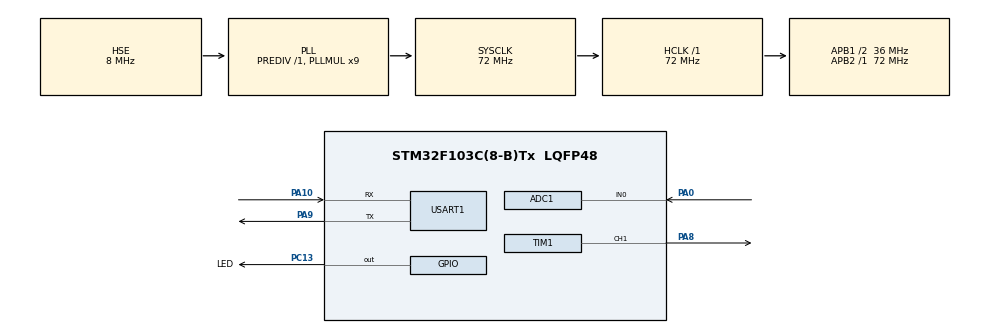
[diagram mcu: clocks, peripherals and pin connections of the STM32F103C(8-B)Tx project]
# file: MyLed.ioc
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ADC1.Channel-0\#ChannelRegularConversion=ADC_CHANNEL_0
ADC1.ExternalTrigConv=ADC_EXTERNALTRIGCONV_T3_TRGO
ADC1.NbrOfConversionFlag=1
ADC1.Rank-0\#ChannelRegularConversion=1
ADC1.SamplingTime-0\#ChannelRegularConversion=ADC_SAMPLETIME_71CYCLES_5
ADC1.master=1
Dma.Request0=TIM1_CH1
Dma.Request1=USART1_RX
Dma.TIM1_CH1.0.Direction=DMA_MEMORY_TO_PERIPH
Dma.TIM1_CH1.0.Instance=DMA1_Channel2
Dma.TIM1_CH1.0.MemDataAlignment=DMA_MDATAALIGN_HALFWORD
Dma.TIM1_CH1.0.MemInc=DMA_MINC_ENABLE
Dma.TIM1_CH1.0.Mode=DMA_NORMAL
Dma.TIM1_CH1.0.PeriphDataAlignment=DMA_PDATAALIGN_HALFWORD
Dma.TIM1_CH1.0.PeriphInc=DMA_PINC_DISABLE
Dma.TIM1_CH1.0.Priority=DMA_PRIORITY_LOW
Dma.USART1_RX.1.Direction=DMA_PERIPH_TO_MEMORY
Dma.USART1_RX.1.Instance=DMA1_Channel5
Dma.USART1_RX.1.MemDataAlignment=DMA_MDATAALIGN_BYTE
Dma.USART1_RX.1.MemInc=DMA_MINC_ENABLE
Dma.USART1_RX.1.Mode=DMA_NORMAL
Dma.USART1_RX.1.PeriphDataAlignment=DMA_PDATAALIGN_BYTE
Dma.USART1_RX.1.PeriphInc=DMA_PINC_DISABLE
Dma.USART1_RX.1.Priority=DMA_PRIORITY_MEDIUM
Mcu.Family=STM32F1
Mcu.Name=STM32F103C(8-B)Tx
Mcu.Package=LQFP48
NVIC.ADC1_2_IRQn=true\:0\:0\:false\:false\:true\:true\:true\:true
NVIC.DMA1_Channel2_IRQn=true\:0\:0\:false\:false\:true\:false\:true\:true
NVIC.DMA1_Channel5_IRQn=true\:0\:0\:false\:false\:true\:false\:true\:true
NVIC.PriorityGroup=NVIC_PRIORITYGROUP_4
NVIC.USART1_IRQn=true\:0\:0\:false\:false\:true\:true\:true\:true
PA0-WKUP.Signal=ADCx_IN0
PA10.Mode=Asynchronous
PA10.Signal=USART1_RX
PA13.Mode=Serial_Wire
PA13.Signal=SYS_JTMS-SWDIO
PA14.Mode=Serial_Wire
PA14.Signal=SYS_JTCK-SWCLK
PA8.GPIO_Speed=GPIO_SPEED_FREQ_HIGH
PA8.Signal=S_TIM1_CH1
PA9.Mode=Asynchronous
PA9.Signal=USART1_TX
PC13-TAMPER-RTC.GPIO_Label=LED
PC13-TAMPER-RTC.Signal=GPIO_Output
PD0-OSC_IN.Mode=HSE-External-Oscillator
PD0-OSC_IN.Signal=RCC_OSC_IN
PD1-OSC_OUT.Mode=HSE-External-Oscillator
PD1-OSC_OUT.Signal=RCC_OSC_OUT
ProjectManager.HeapSize=0x200
ProjectManager.StackSize=0x400
ProjectManager.TargetToolchain=STM32CubeIDE
RCC.ADCPresc=RCC_ADCPCLK2_DIV6
RCC.AHBFreq_Value=72000000
RCC.APB1CLKDivider=RCC_HCLK_DIV2
RCC.APB1Freq_Value=36000000
RCC.APB1TimFreq_Value=72000000
RCC.APB2Freq_Value=72000000
RCC.APB2TimFreq_Value=72000000
RCC.HCLKFreq_Value=72000000
RCC.PLLMUL=RCC_PLL_MUL9
RCC.PLLSourceVirtual=RCC_PLLSOURCE_HSE
RCC.SYSCLKFreq_VALUE=72000000
RCC.SYSCLKSource=RCC_SYSCLKSOURCE_PLLCLK
RCC.USBFreq_Value=72000000
SH.ADCx_IN0.0=ADC1_IN0,IN0
SH.S_TIM1_CH1.0=TIM1_CH1,PWM Generation1 CH1
TIM1.Channel-PWM\ Generation1\ CH1=TIM_CHANNEL_1
TIM1.Period=90-1
TIM3.Period=4500-1
TIM3.TIM_MasterOutputTrigger=TIM_TRGO_UPDATE
USART1.VirtualMode=VM_ASYNC
VP_TIM3_VS_ClockSourceINT.Mode=Internal
board=custom

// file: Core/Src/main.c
/* USER CODE BEGIN Header */
/**
  ******************************************************************************
  * @file           : main.c
  * @brief          : Main program body
  ******************************************************************************
  * @attention
  *
  * <h2><center>&copy; Copyright (c) 2022 STMicroelectronics.
  * All rights reserved.</center></h2>
  *
  * This software component is licensed by ST under BSD 3-Clause license,
  * the "License"; You may not use this file except in compliance with the
  * License. You may obtain a copy of the License at:
  *                        opensource.org/licenses/BSD-3-Clause
  *
  ******************************************************************************
  */
/* USER CODE END Header */
#include "main.h"

/* USER CODE BEGIN Includes */
#include "ESP_AT.h"
#include "WS2812B.h"
#include "WS2812B_Effects.h"
#include "FlashPROM.h"
#include <stdio.h>
#include <stdlib.h>

#define RX_BUFF_SIZE 33
#define MAX_LEDS 240
#define FIRST_WRITE_KEY 13
#define SETTINGS_BUFFSIZE (sizeof(Settings))
#define AUTOSAVE_PERIOD 10000
unsigned long autosaveTimer = 0;

/* USER CODE END Includes */

ADC_HandleTypeDef hadc1;

TIM_HandleTypeDef htim1;
TIM_HandleTypeDef htim3;
DMA_HandleTypeDef hdma_tim1_ch1;

UART_HandleTypeDef huart1;
DMA_HandleTypeDef hdma_usart1_rx;

void SystemClock_Config(void);
static void MX_GPIO_Init(void);
static void MX_DMA_Init(void);
static void MX_TIM1_Init(void);
static void MX_USART1_UART_Init(void);
static void MX_ADC1_Init(void);
static void MX_TIM3_Init(void);

/* USER CODE BEGIN 0 */

//---------Commands-----------
enum Commands{
	SET_BRIGHTNESS,
	SET_COLOR,
    SET_EFFECT,
	SET_EFFECT_DELAY,
	SET_COLOR_MUSIC,
	SET_COLOR_MUSIC_DELAY,
	SET_COLOR_MUSIC_SENSIVITY,
    SET_NUM_LEDS,
    SET_WIFI_SETTENGS,
	SET_AP_SETTINGS,
	SET_ON_OFF
};

//---------Settings-----------
typedef struct{
	uint8_t firstWriteKey;
	uint8_t brightness;
	uint8_t colorR;
	uint8_t colorG;
	uint8_t colorB;
	uint8_t effect;
	uint8_t effectDelay;
	uint8_t colorMusic;
	uint8_t colorMusicDelay;
	uint8_t colorMusicLowSensivity;
	uint8_t colorMusicMediumSensivity;
	uint8_t colorMusicHighSensivity;
	uint8_t numleds;
	uint8_t ssidSTA[16];
	uint8_t passSTA[16];
	uint8_t ssidAP[16];
	uint8_t passAP[16];
	uint8_t onOff;
}Settings;
Settings settings = {0};

WS2812B_t myled;
uint8_t rxBuff[RX_BUFF_SIZE] = {};
uint8_t dataReceivedFlag = 0;

void ESP_IPD_Callback(uint8_t id, uint16_t len, char* data){
	if(!dataReceivedFlag){
		memcpy(rxBuff, data, len);
		HAL_GPIO_TogglePin(LED_GPIO_Port, LED_Pin);
		dataReceivedFlag = 1;
	}
}
/* USER CODE END 0 */

int main(void)
{

  /* MCU Configuration--------------------------------------------------------*/

  /* Reset of all peripherals, Initializes the Flash interface and the Systick. */
  HAL_Init();

  /* Configure the system clock */
  SystemClock_Config();

  /* Initialize all configured peripherals */
  MX_GPIO_Init();
  MX_DMA_Init();
  MX_TIM1_Init();
  MX_USART1_UART_Init();
  MX_ADC1_Init();
  MX_TIM3_Init();

  /* Infinite loop */
  /* USER CODE BEGIN WHILE */
  HAL_Delay(100);
  HAL_GPIO_WritePin(LED_GPIO_Port, LED_Pin, GPIO_PIN_SET);

  FlashPROM_Init(SETTINGS_BUFFSIZE);
  FlashPROM_Read((void*)&settings);
  if(settings.firstWriteKey != FIRST_WRITE_KEY){
	  settings.firstWriteKey = FIRST_WRITE_KEY;
	  settings.brightness = 32;
	  settings.numleds = 60;
	  settings.effectDelay = 50;
	  settings.colorR = 255;
	  settings.colorG = 0;
	  settings.colorB = 0;
	  settings.effect = 0;
	  settings.effectDelay = 50;
	  settings.colorMusic = 0;
	  settings.colorMusicDelay = 50;
	  settings.colorMusicLowSensivity = 35;
	  settings.colorMusicMediumSensivity = 35;
	  settings.colorMusicHighSensivity = 35;
	  sprintf((char*)settings.ssidSTA, "none");
	  sprintf((char*)settings.passSTA, "none");
	  sprintf((char*)settings.ssidAP, "MyLed");
	  sprintf((char*)settings.passAP, "myled1305");
	  settings.onOff = 1;
	  FlashPROM_Write((void*)&settings);
  }

  ESP_Init(&huart1);
  ESP_STA_Mode();
  ESP_STA_IP("192.168.0.113", "192.168.0.1", "255.255.255.0");
  if(!ESP_ConnectToAP((char*)settings.ssidSTA, (char*)settings.passSTA))
  {
	  ESP_AP_Mode();
	  ESP_AP_Config((char*)settings.ssidAP, (char*)settings.passAP, 1, 2);
	  ESP_AP_IP("192.168.0.113", "192.168.0.1", "255.255.255.0");
  }
  ESP_StartTCPServer(1305);
  ESP_EnableCallbacs();

  HAL_GPIO_WritePin(LED_GPIO_Port, LED_Pin, GPIO_PIN_RESET);

  WS2812B_Init(&myled, MAX_LEDS, &htim1, TIM_CHANNEL_1);
  WS2812B_SetBrightness(&myled, settings.brightness);
  WS2812B_SetNumLeds(&myled, settings.numleds);

  memset(rxBuff, 0, RX_BUFF_SIZE);

  while (1)
  {
		if(settings.onOff){
			WS2812B_MakeEffect(&myled, settings.effect, settings.effectDelay);

			if(!settings.effect){
				for(size_t i = 0; i < MAX_LEDS; i++){
					WS2812B_SetPixelRGB(&myled, settings.colorR, settings.colorG, settings.colorB, i);
				}
			}
			WS2812B_Show(&myled);
		}else{
			WS2812B_Off(&myled);
		}
		if(HAL_GetTick() - autosaveTimer > AUTOSAVE_PERIOD && autosaveTimer != 0){
			FlashPROM_Write((void*)&settings);
			autosaveTimer = 0;
		}

	  if(dataReceivedFlag){
		  switch (rxBuff[0])
		  	{
		  	case SET_BRIGHTNESS:
		  	{
		  		settings.brightness = rxBuff[1];
		  		WS2812B_SetBrightness(&myled, settings.brightness);
		  		break;
		  	}
		  	case SET_COLOR:
		  	{
		  		settings.colorR = rxBuff[1];
		  		settings.colorG = rxBuff[2];
		  		settings.colorB = rxBuff[3];
		  		for(int i = 0; i < settings.numleds; i++)
		  			WS2812B_SetPixelRGB(&myled, settings.colorR, settings.colorG, settings.colorB, i);
		  		break;
		  	}
		  	case SET_EFFECT:
		  	{
		  		settings.effect = rxBuff[1];
		  		break;
		  	}
		  	case SET_EFFECT_DELAY:
		  	{
		  		settings.effectDelay = rxBuff[1];
		  		break;
		  	}
		  	case SET_COLOR_MUSIC:
		  	{
		  		settings.colorMusic = rxBuff[1];
		  		break;
		  	}
		  	case SET_COLOR_MUSIC_DELAY:
		  	{
		  		settings.colorMusicDelay = rxBuff[1];
		  		break;
		  	}
		  	case SET_COLOR_MUSIC_SENSIVITY:
		  	{
		  		settings.colorMusicLowSensivity = rxBuff[1];
		  		settings.colorMusicMediumSensivity = rxBuff[2];
		  		settings.colorMusicHighSensivity = rxBuff[3];
		  		break;
		  	}
		  	case SET_NUM_LEDS:
		  	{
		  		if(rxBuff[1] <= MAX_LEDS){
		  			settings.numleds = rxBuff[1];
		  			WS2812B_SetNumLeds(&myled, settings.numleds);
		  		}
		  		break;
		  	}
		  	case SET_WIFI_SETTENGS:
		  	{
		  		for(int i = 1; i < sizeof(settings.ssidSTA); i++)
		  			settings.ssidSTA[i - 1] = rxBuff[i];
		  		for(int i = 1; i < sizeof(settings.passSTA); i++)
		  			settings.passSTA[i - 1] = rxBuff[i + sizeof(settings.ssidSTA)];

		  		FlashPROM_Write((void*)&settings);
		  		HAL_Delay(5);
		  		__set_FAULTMASK(1);
		  		NVIC_SystemReset();
		  		break;
		  	}
		  	case SET_AP_SETTINGS:
		  	{
		  		for(int i = 1; i < sizeof(settings.ssidAP); i++)
		  			settings.ssidAP[i - 1] = rxBuff[i];
		  		for(int i = 1; i < sizeof(settings.passAP); i++)
		  			settings.passAP[i - 1] = rxBuff[i + sizeof(settings.ssidAP)];

		  		FlashPROM_Write((void*)&settings);
		  		HAL_Delay(5);
		  		__set_FAULTMASK(1);
		  		NVIC_SystemReset();
		  		break;
		  	}
		  	case SET_ON_OFF:
		  	{
		  		settings.onOff = !settings.onOff;
		  		if(!settings.onOff){
		  			for(int i = 0; i < settings.numleds; i++)
		  				WS2812B_SetPixelRGB(&myled, 0, 0, 0, i);
		  			WS2812B_MakeEffect(&myled, EFFECT_NONE, settings.effectDelay);
		  			WS2812B_Show(&myled);
		  			FlashPROM_Write((void*)&settings);
		  			HAL_Delay(5);
		  		}
		  		break;
		  	}
		  	}
		  	memset(rxBuff, 0, RX_BUFF_SIZE);
		  	autosaveTimer = HAL_GetTick();
		  	dataReceivedFlag = 0;
	  }
    /* USER CODE END WHILE */

  }
}

void SystemClock_Config(void)
{
  RCC_OscInitTypeDef RCC_OscInitStruct = {0};
  RCC_ClkInitTypeDef RCC_ClkInitStruct = {0};
  RCC_PeriphCLKInitTypeDef PeriphClkInit = {0};

  /** Initializes the RCC Oscillators according to the specified parameters
  * in the RCC_OscInitTypeDef structure.
  */
  RCC_OscInitStruct.OscillatorType = RCC_OSCILLATORTYPE_HSE;
  RCC_OscInitStruct.HSEState = RCC_HSE_ON;
  RCC_OscInitStruct.HSEPredivValue = RCC_HSE_PREDIV_DIV1;
  RCC_OscInitStruct.HSIState = RCC_HSI_ON;
  RCC_OscInitStruct.PLL.PLLState = RCC_PLL_ON;
  RCC_OscInitStruct.PLL.PLLSource = RCC_PLLSOURCE_HSE;
  RCC_OscInitStruct.PLL.PLLMUL = RCC_PLL_MUL9;
  if (HAL_RCC_OscConfig(&RCC_OscInitStruct) != HAL_OK)
  {
    Error_Handler();
  }

  /** Initializes the CPU, AHB and APB buses clocks
  */
  RCC_ClkInitStruct.ClockType = RCC_CLOCKTYPE_HCLK|RCC_CLOCKTYPE_SYSCLK
                              |RCC_CLOCKTYPE_PCLK1|RCC_CLOCKTYPE_PCLK2;
  RCC_ClkInitStruct.SYSCLKSource = RCC_SYSCLKSOURCE_PLLCLK;
  RCC_ClkInitStruct.AHBCLKDivider = RCC_SYSCLK_DIV1;
  RCC_ClkInitStruct.APB1CLKDivider = RCC_HCLK_DIV2;
  RCC_ClkInitStruct.APB2CLKDivider = RCC_HCLK_DIV1;

  if (HAL_RCC_ClockConfig(&RCC_ClkInitStruct, FLASH_LATENCY_2) != HAL_OK)
  {
    Error_Handler();
  }
  PeriphClkInit.PeriphClockSelection = RCC_PERIPHCLK_ADC;
  PeriphClkInit.AdcClockSelection = RCC_ADCPCLK2_DIV6;
  if (HAL_RCCEx_PeriphCLKConfig(&PeriphClkInit) != HAL_OK)
  {
    Error_Handler();
  }
}

static void MX_ADC1_Init(void)
{

  ADC_ChannelConfTypeDef sConfig = {0};

  /** Common config
  */
  hadc1.Instance = ADC1;
  hadc1.Init.ScanConvMode = ADC_SCAN_DISABLE;
  hadc1.Init.ContinuousConvMode = DISABLE;
  hadc1.Init.DiscontinuousConvMode = DISABLE;
  hadc1.Init.ExternalTrigConv = ADC_EXTERNALTRIGCONV_T3_TRGO;
  hadc1.Init.DataAlign = ADC_DATAALIGN_RIGHT;
  hadc1.Init.NbrOfConversion = 1;
  if (HAL_ADC_Init(&hadc1) != HAL_OK)
  {
    Error_Handler();
  }

  /** Configure Regular Channel
  */
  sConfig.Channel = ADC_CHANNEL_0;
  sConfig.Rank = ADC_REGULAR_RANK_1;
  sConfig.SamplingTime = ADC_SAMPLETIME_71CYCLES_5;
  if (HAL_ADC_ConfigChannel(&hadc1, &sConfig) != HAL_OK)
  {
    Error_Handler();
  }

}

static void MX_TIM1_Init(void)
{

  TIM_MasterConfigTypeDef sMasterConfig = {0};
  TIM_OC_InitTypeDef sConfigOC = {0};
  TIM_BreakDeadTimeConfigTypeDef sBreakDeadTimeConfig = {0};

  htim1.Instance = TIM1;
  htim1.Init.Prescaler = 0;
  htim1.Init.CounterMode = TIM_COUNTERMODE_UP;
  htim1.Init.Period = 90-1;
  htim1.Init.ClockDivision = TIM_CLOCKDIVISION_DIV1;
  htim1.Init.RepetitionCounter = 0;
  htim1.Init.AutoReloadPreload = TIM_AUTORELOAD_PRELOAD_DISABLE;
  if (HAL_TIM_PWM_Init(&htim1) != HAL_OK)
  {
    Error_Handler();
  }
  sMasterConfig.MasterOutputTrigger = TIM_TRGO_RESET;
  sMasterConfig.MasterSlaveMode = TIM_MASTERSLAVEMODE_DISABLE;
  if (HAL_TIMEx_MasterConfigSynchronization(&htim1, &sMasterConfig) != HAL_OK)
  {
    Error_Handler();
  }
  sConfigOC.OCMode = TIM_OCMODE_PWM1;
  sConfigOC.Pulse = 0;
  sConfigOC.OCPolarity = TIM_OCPOLARITY_HIGH;
  sConfigOC.OCNPolarity = TIM_OCNPOLARITY_HIGH;
  sConfigOC.OCFastMode = TIM_OCFAST_DISABLE;
  sConfigOC.OCIdleState = TIM_OCIDLESTATE_RESET;
  sConfigOC.OCNIdleState = TIM_OCNIDLESTATE_RESET;
  if (HAL_TIM_PWM_ConfigChannel(&htim1, &sConfigOC, TIM_CHANNEL_1) != HAL_OK)
  {
    Error_Handler();
  }
  sBreakDeadTimeConfig.OffStateRunMode = TIM_OSSR_DISABLE;
  sBreakDeadTimeConfig.OffStateIDLEMode = TIM_OSSI_DISABLE;
  sBreakDeadTimeConfig.LockLevel = TIM_LOCKLEVEL_OFF;
  sBreakDeadTimeConfig.DeadTime = 0;
  sBreakDeadTimeConfig.BreakState = TIM_BREAK_DISABLE;
  sBreakDeadTimeConfig.BreakPolarity = TIM_BREAKPOLARITY_HIGH;
  sBreakDeadTimeConfig.AutomaticOutput = TIM_AUTOMATICOUTPUT_DISABLE;
  if (HAL_TIMEx_ConfigBreakDeadTime(&htim1, &sBreakDeadTimeConfig) != HAL_OK)
  {
    Error_Handler();
  }
  HAL_TIM_MspPostInit(&htim1);

}

static void MX_TIM3_Init(void)
{

  TIM_ClockConfigTypeDef sClockSourceConfig = {0};
  TIM_MasterConfigTypeDef sMasterConfig = {0};

  htim3.Instance = TIM3;
  htim3.Init.Prescaler = 0;
  htim3.Init.CounterMode = TIM_COUNTERMODE_UP;
  htim3.Init.Period = 4500-1;
  htim3.Init.ClockDivision = TIM_CLOCKDIVISION_DIV1;
  htim3.Init.AutoReloadPreload = TIM_AUTORELOAD_PRELOAD_DISABLE;
  if (HAL_TIM_Base_Init(&htim3) != HAL_OK)
  {
    Error_Handler();
  }
  sClockSourceConfig.ClockSource = TIM_CLOCKSOURCE_INTERNAL;
  if (HAL_TIM_ConfigClockSource(&htim3, &sClockSourceConfig) != HAL_OK)
  {
    Error_Handler();
  }
  sMasterConfig.MasterOutputTrigger = TIM_TRGO_UPDATE;
  sMasterConfig.MasterSlaveMode = TIM_MASTERSLAVEMODE_DISABLE;
  if (HAL_TIMEx_MasterConfigSynchronization(&htim3, &sMasterConfig) != HAL_OK)
  {
    Error_Handler();
  }

}

static void MX_USART1_UART_Init(void)
{

  huart1.Instance = USART1;
  huart1.Init.BaudRate = 115200;
  huart1.Init.WordLength = UART_WORDLENGTH_8B;
  huart1.Init.StopBits = UART_STOPBITS_1;
  huart1.Init.Parity = UART_PARITY_NONE;
  huart1.Init.Mode = UART_MODE_TX_RX;
  huart1.Init.HwFlowCtl = UART_HWCONTROL_NONE;
  huart1.Init.OverSampling = UART_OVERSAMPLING_16;
  if (HAL_UART_Init(&huart1) != HAL_OK)
  {
    Error_Handler();
  }

}

static void MX_DMA_Init(void)
{

  /* DMA controller clock enable */
  __HAL_RCC_DMA1_CLK_ENABLE();

  /* DMA interrupt init */
  /* DMA1_Channel2_IRQn interrupt configuration */
  HAL_NVIC_SetPriority(DMA1_Channel2_IRQn, 0, 0);
  HAL_NVIC_EnableIRQ(DMA1_Channel2_IRQn);
  /* DMA1_Channel5_IRQn interrupt configuration */
  HAL_NVIC_SetPriority(DMA1_Channel5_IRQn, 0, 0);
  HAL_NVIC_EnableIRQ(DMA1_Channel5_IRQn);

}

static void MX_GPIO_Init(void)
{
  GPIO_InitTypeDef GPIO_InitStruct = {0};

  /* GPIO Ports Clock Enable */
  __HAL_RCC_GPIOC_CLK_ENABLE();
  __HAL_RCC_GPIOD_CLK_ENABLE();
  __HAL_RCC_GPIOA_CLK_ENABLE();

  /*Configure GPIO pin Output Level */
  HAL_GPIO_WritePin(LED_GPIO_Port, LED_Pin, GPIO_PIN_RESET);

  /*Configure GPIO pin : LED_Pin */
  GPIO_InitStruct.Pin = LED_Pin;
  GPIO_InitStruct.Mode = GPIO_MODE_OUTPUT_PP;
  GPIO_InitStruct.Pull = GPIO_NOPULL;
  GPIO_InitStruct.Speed = GPIO_SPEED_FREQ_LOW;
  HAL_GPIO_Init(LED_GPIO_Port, &GPIO_InitStruct);

}

void Error_Handler(void)
{
  __disable_irq();
  while (1)
  {
  }
}
